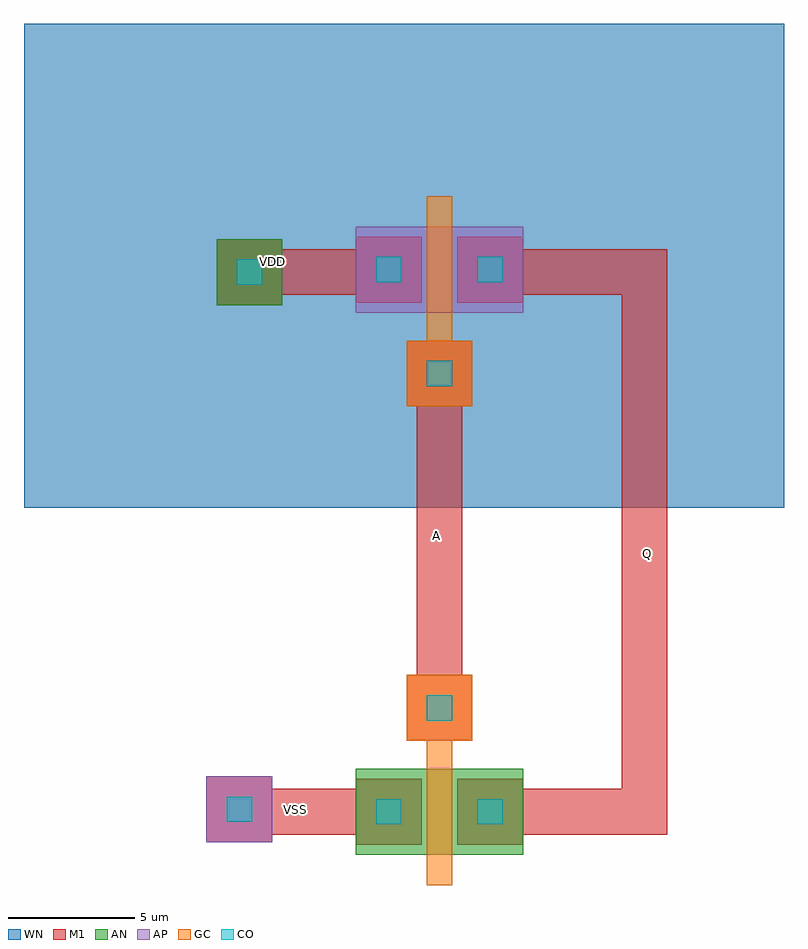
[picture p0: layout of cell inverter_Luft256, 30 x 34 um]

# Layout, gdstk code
import gdstk
lib = gdstk.Library(unit=1e-6, precision=1e-07)
def R(c, l, rs):  # rectangles x0, y0, x1, y1
    for r in rs: c.add(gdstk.rectangle(r[:2], r[2:], *l))
AP = (3, 1)
AN = (3, 2)
GC = (8, 1)
CO = (11, 0)
M1 = (13, 0)
WN = (140, 0)

fet_n = lib.new_cell('fet_n')
R(fet_n, AN, [(-3.3,-1.7,3.3,1.7)])
R(fet_n, CO, [(-2.5,-0.5,-1.5,0.5), (1.5,-0.5,2.5,0.5)])
R(fet_n, M1, [(-3.3,-1.3,-0.7,1.3), (0.7,-1.3,3.3,1.3)])
fet_n.add(gdstk.FlexPath([(0,-2.9),(0,2.9)], 1, ends="flush", simple_path=True, layer=8, datatype=1))  # GC

fet_p = lib.new_cell('fet_p')
R(fet_p, AP, [(-3.3,-1.7,3.3,1.7)])
R(fet_p, CO, [(-2.5,-0.5,-1.5,0.5), (1.5,-0.5,2.5,0.5)])
R(fet_p, M1, [(-3.3,-1.3,-0.7,1.3), (0.7,-1.3,3.3,1.3)])
fet_p.add(gdstk.FlexPath([(0,-2.9),(0,2.9)], 1, ends="flush", simple_path=True, layer=8, datatype=1))  # GC

cont_g = lib.new_cell('cont_g')
R(cont_g, GC, [(-1.3,-1.3,1.3,1.3)])
R(cont_g, CO, [(-0.5,-0.5,0.5,0.5)])
R(cont_g, M1, [(-1.3,-1.3,1.3,1.3)])

cont_n = lib.new_cell('cont_n')
R(cont_n, AN, [(-1.3,-1.3,1.3,1.3)])
R(cont_n, CO, [(-0.5,-0.5,0.5,0.5)])
R(cont_n, M1, [(-1.3,-1.3,1.3,1.3)])

cont_p = lib.new_cell('cont_p')
R(cont_p, AP, [(-1.3,-1.3,1.3,1.3)])
R(cont_p, CO, [(-0.5,-0.5,0.5,0.5)])
R(cont_p, M1, [(-1.3,-1.3,1.3,1.3)])

inverter_luft256 = lib.new_cell('inverter_Luft256')
R(inverter_luft256, WN, [(-17.1,-10.1,12.9,9)])
inverter_luft256.add(gdstk.FlexPath([(-0.7,-4.5),(-0.7,-18.3),(-0.7,-18.3)], 1.8, ends="flush", simple_path=True, layer=13, datatype=0))  # M1
inverter_luft256.add(gdstk.FlexPath([(1.4,-0.8),(7.4,-0.8),(7.4,-22.1),(1.4,-22.1)], 1.8, ends="flush", simple_path=True, layer=13, datatype=0))  # M1
inverter_luft256.add(gdstk.FlexPath([(-8.2,-0.8),(-2.7,-0.8)], 1.8, ends="flush", simple_path=True, layer=13, datatype=0))  # M1
inverter_luft256.add(gdstk.FlexPath([(-2.8,-22.1),(-8.6,-22.1)], 1.8, ends="flush", simple_path=True, layer=13, datatype=0))  # M1
inverter_luft256.add(gdstk.Reference(fet_n, (-0.7,-22.1)))
inverter_luft256.add(gdstk.Reference(fet_p, (-0.7,-0.7)))
inverter_luft256.add(gdstk.Reference(cont_g, (-0.7,-4.8)))
inverter_luft256.add(gdstk.Reference(cont_n, (-8.2,-0.8)))
inverter_luft256.add(gdstk.Reference(cont_g, (-0.7,-18)))
inverter_luft256.add(gdstk.Reference(cont_p, (-8.6,-22)))
inverter_luft256.add(gdstk.Label('VDD', (-7.3,-0.4), layer=13, texttype=0))
inverter_luft256.add(gdstk.Label('A', (-0.8,-11.2), layer=13, texttype=0))
inverter_luft256.add(gdstk.Label('Q', (7.5,-11.9), layer=13, texttype=0))
inverter_luft256.add(gdstk.Label('VSS', (-6.4,-22), layer=13, texttype=0))

lib.write_gds('inverter_Luft256.gds')
